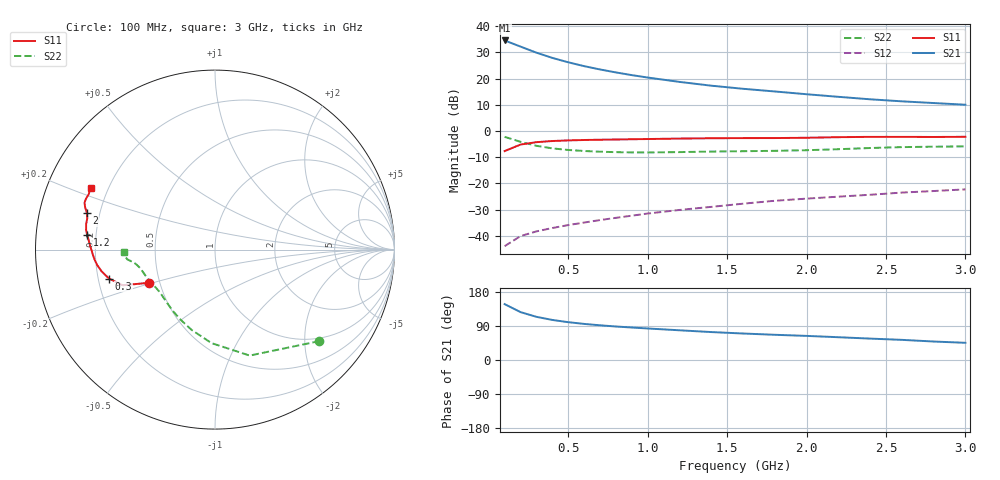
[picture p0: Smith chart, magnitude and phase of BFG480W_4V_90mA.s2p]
! Filename: 490BFG480.001
! Title: BFG480W
! Bias: Vce=4V; Ic=90mA
! Company: Philips Semiconductors NL
! User: Quality&Reliability T&D
! Measure time: 10 Nov 1999 / 12:03:47
#  MHz  S  MA  R 50
! Freq  S11  S21  S12  S22  :
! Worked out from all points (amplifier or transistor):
!   20 points, 100 MHz to 3 GHz, reference 50 ohm
!   highest |S21| = 34.6 dB at 100 MHz (marker M1)
!   |S21| within 3 dB of that: start of sweep to 228.4 MHz
!   unconditionally stable (mu >= 1): 758.2 MHz to end of sweep
!   at 400 MHz: K = 0.79, MSG = 32.5 dB, |S12| = -37.1 dB
!   at 1.2 GHz: K = 1.07, MAG = 22.8 dB, |S12| = -30.2 dB
!   at 3 GHz: K = 1.04, MAG = 14.9 dB, |S12| = -22.3 dB
!   S11 on the Smith chart (normalised r, x): 100 MHz: 0.43, -0.19; 300 MHz: 0.24, -0.13; 1.2 GHz: 0.17, +0.05; 2 GHz: 0.15, +0.14; 3 GHz: 0.13, +0.23
100  0.4131 -153.4  53.56 147.5  0.006314 69.2  0.7735 -41.2
200  0.5501 -158.8  40.91 126.4  0.009832 59.9  0.6212 -71.9
300  0.612 -164.7  31.32 113.9  0.01209 58.8  0.5212 -92.2
400  0.6431 -169.1  24.9 105.8  0.01402 59.9  0.4658 -106.3
500  0.6612 -172.4  20.51 99.8  0.01596 61.9  0.4341 -116.6
600  0.6727 -175.1  17.32 95.3  0.01783 64.0  0.415 -124.3
700  0.6808 -177.5  14.97 91.6  0.01988 66.2  0.4023 -130.3
800  0.6875 -179.6  13.14 88.4  0.02194 67.9  0.3942 -135.3
900  0.6955 178.4  11.67 85.7  0.02413 69.7  0.3899 -139.6
1000  0.702 176.7  10.49 83.2  0.02651 70.9  0.3889 -143.5
1200  0.7164 173.6  8.662 78.4  0.03103 72.7  0.3951 -149.8
1400  0.7267 171.2  7.334 73.7  0.03554 73.7  0.4048 -154.4
1600  0.7317 168.9  6.398 69.9  0.04087 74.5  0.4109 -158.0
1800  0.7327 166.3  5.687 66.5  0.04647 75.2  0.418 -161.7
2000  0.7422 164.0  5.034 63.6  0.05108 75.8  0.4294 -166.1
2200  0.7615 161.9  4.493 60.1  0.05567 75.8  0.4487 -169.8
2400  0.7726 160.2  4.03 56.5  0.06054 75.3  0.473 -172.2
2600  0.7726 158.5  3.685 53.2  0.06664 74.7  0.4921 -173.7
2800  0.7684 156.2  3.417 48.8  0.07134 73.4  0.5013 -175.5
3000  0.7746 153.6  3.173 45.4  0.07674 72.5  0.5088 -178.4
